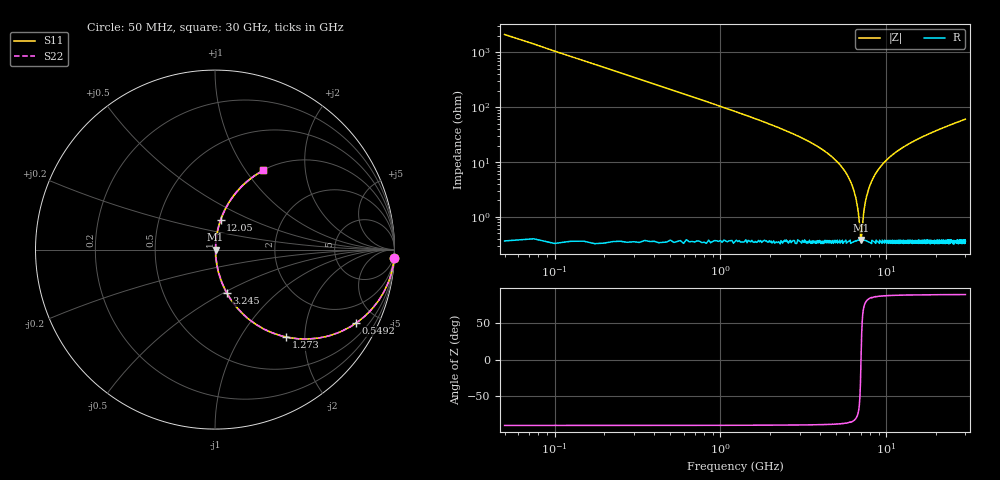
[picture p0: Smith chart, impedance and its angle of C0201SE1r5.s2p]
!	AVX Thin Film Operation 	Date: April 2014
!	Description: Accu-P® Series, Thin Film  SMD RF Capacitor
!	Part Number: 02015J1R5PBSTR
# MHZ S MA R 50
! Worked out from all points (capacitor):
!   1201 points, 50 MHz to 30 GHz, reference 50 ohm
!   read as one part in series: C = 1.5 pF near 199.8 MHz
!   lowest |Z| = 378 mohm at 7.038 GHz (marker M1)
!   series resonance near 7.045 GHz, so ESL is about 340 pH
!   S11 on the Smith chart (normalised r, x): 50 MHz: 1, -42; 549.2 MHz: 1.01, -3.84; 1.273 GHz: 1.01, -1.61; 3.245 GHz: 1.01, -0.52; 12.05 GHz: 1.01, +0.34; 30 GHz: 1.01, +1.21
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50  0.999 -2.7  0.047 87.3  0.047 87.3  0.999 -2.7
299.583  0.962 -15.8  0.272 74.2  0.272 74.2  0.962 -15.8
549.167  0.886 -27.5  0.462 62.4  0.462 62.4  0.886 -27.5
1272.958  0.626 -51.0  0.777 38.8  0.777 38.8  0.626 -51.0
2071.625  0.423 -64.6  0.903 25.0  0.903 25.0  0.423 -64.6
3244.667  0.249 -74.8  0.965 14.4  0.965 14.4  0.249 -74.8
5041.667  0.102 -82.2  0.991 5.8  0.991 5.8  0.102 -82.2
5765.458  0.061 -83.2  0.995 3.5  0.995 3.5  0.061 -83.2
6364.458  0.031 -81.7  0.996 1.7  0.996 1.7  0.031 -81.7
6663.958  0.017 -77.1  0.996 1.0  0.996 1.0  0.017 -77.1
6938.5  0.005754 -52.1  0.996 0.3  0.996 0.3  0.005754 -52.1
7038.333  0.003528 -4.3  0.996 0.0  0.996 0.0  0.003528 -4.3
7138.167  0.005299 48.2  0.996 -0.2  0.996 -0.2  0.005299 48.2
7487.583  0.019 78.1  0.996 -1.0  0.996 -1.0  0.019 78.1
7986.75  0.038 82.5  0.996 -2.2  0.996 -2.2  0.038 82.5
8835.333  0.069 83.1  0.994 -3.9  0.994 -3.9  0.069 83.1
10058.29  0.109 81.9  0.991 -6.2  0.991 -6.2  0.109 81.9
12054.96  0.167 79.2  0.983 -9.6  0.983 -9.6  0.167 79.2
15025  0.242 75.2  0.967 -14.0  0.967 -14.0  0.242 75.2
20016.67  0.35 69.0  0.933 -20.5  0.933 -20.5  0.35 69.0
25033.29  0.441 63.4  0.894 -26.2  0.894 -26.2  0.441 63.4
30000  0.517 58.5  0.853 -31.1  0.853 -31.1  0.517 58.5
